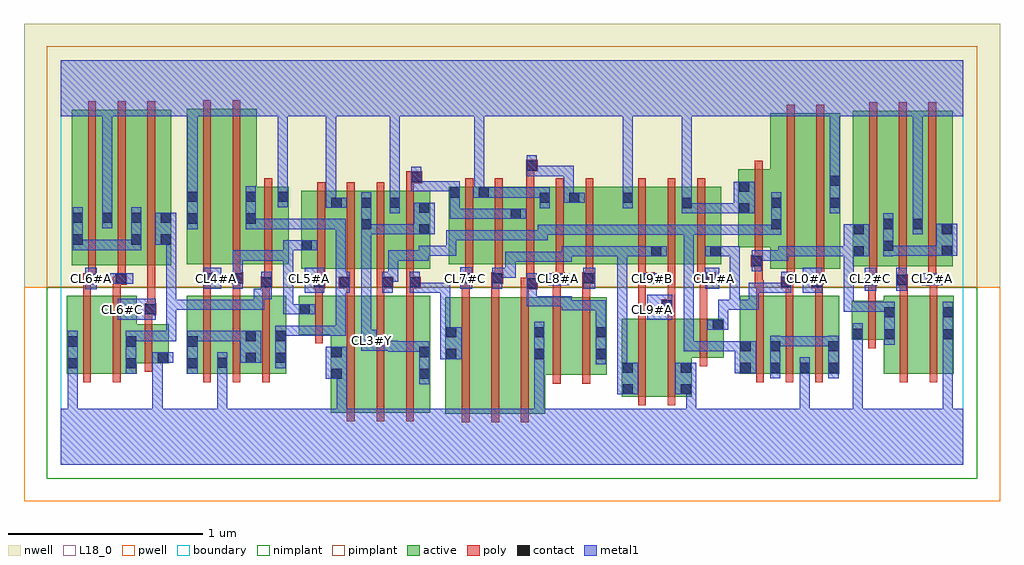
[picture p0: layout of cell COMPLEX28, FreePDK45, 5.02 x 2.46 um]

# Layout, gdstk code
import gdstk
lib = gdstk.Library(unit=1e-6, precision=1e-09)
def R(c, l, rs):  # rectangles x0, y0, x1, y1
    for r in rs: c.add(gdstk.rectangle(r[:2], r[2:], *l))
def A(c, l, x, y, w, h, nx, ny, dx, dy):  # array of equal rectangles
    R(c, l, [(x+i*dx, y+j*dy, x+i*dx+w, y+j*dy+h) for i in range(nx) for j in range(ny)])
active = (1, 0)
pwell = (2, 0)
nwell = (3, 0)
nimplant = (4, 0)
pimplant = (5, 0)
poly = (9, 0)
contact = (10, 0)
metal1 = (11, 0)
L18_0 = (18, 0)
boundary = (235, 0)

complex28 = lib.new_cell('COMPLEX28')
R(complex28, active, [(1.978,0.262,2.158,0.862), (2.158,0.262,2.31,0.862), (2.31,0.262,2.49,0.862), (1.388,0.268,1.568,0.868), (1.388,0.268,1.448,0.868), (1.568,0.268,1.72,0.868), (1.72,0.268,1.9,0.868), (1.84,0.268,1.9,0.868), (1.978,0.268,2.062,0.862), (2.43,0.268,2.49,0.742), (2.884,0.35,3.064,0.75), (3.064,0.35,3.244,0.75), (3.184,0.35,3.244,0.55), (2.884,0.356,2.944,0.75), (2.43,0.462,2.626,0.862), (2.626,0.462,2.806,0.862), (0.032,0.468,0.092,0.868), (0.032,0.468,0.212,0.868), (0.212,0.468,0.392,0.868), (0.332,0.468,0.392,0.722), (0.648,0.468,0.708,0.868), (0.648,0.468,0.86,0.868), (0.8,0.468,1.008,0.868), (0.8,0.468,0.86,0.854), (0.948,0.468,1.008,0.868), (0.948,0.468,1.16,0.868), (1.1,0.468,1.16,0.868), (2.746,0.468,2.806,0.862), (3.49,0.468,3.55,0.868), (3.49,0.468,3.702,0.868), (3.642,0.468,3.854,0.868), (3.642,0.468,3.702,0.64), (3.794,0.468,4.002,0.868), (3.794,0.468,3.854,0.528), (3.942,0.468,4.002,0.868), (4.23,0.468,4.41,0.868), (4.41,0.468,4.59,0.868), (4.53,0.468,4.59,0.868), (0.332,0.522,0.556,0.722), (0.496,0.522,0.556,0.722), (3.184,0.55,3.408,0.75), (3.348,0.55,3.408,0.75), (4.23,0.642,4.29,0.844), (4.066,0.644,4.29,0.844), (4.066,0.644,4.126,0.844), (1.224,0.668,1.448,0.868), (1.224,0.668,1.284,0.868), (1.236,1.008,1.448,1.408), (1.236,1.008,1.296,1.356), (1.388,1.008,1.448,1.408), (1.388,1.008,1.6,1.408), (1.54,1.008,1.6,1.408), (1.54,1.008,1.748,1.408), (1.688,1.008,1.9,1.408), (1.84,1.008,1.9,1.408), (3.648,1.008,3.828,1.808), (3.828,1.008,4.008,1.808), (3.948,1.008,4.008,1.756), (4.072,1.02,4.132,1.724), (4.072,1.02,4.284,1.82), (4.224,1.02,4.436,1.82), (4.376,1.02,4.584,1.82), (4.524,1.02,4.584,1.724), (0.058,1.026,0.27,1.826), (0.058,1.026,0.118,1.724), (0.21,1.026,0.418,1.826), (0.358,1.026,0.57,1.826), (0.358,1.026,0.418,1.724), (0.51,1.026,0.57,1.724), (1.688,1.026,1.748,1.408), (0.648,1.03,0.828,1.83), (0.648,1.03,0.708,1.83), (0.828,1.03,1.008,1.83), (0.948,1.03,1.172,1.43), (0.948,1.03,1.008,1.724), (1.996,1.03,2.056,1.43), (1.996,1.03,2.204,1.43), (2.144,1.03,2.37,1.43), (2.31,1.03,2.518,1.43), (2.458,1.03,2.67,1.43), (2.61,1.03,2.944,1.43), (2.884,1.03,3.092,1.43), (3.032,1.03,3.248,1.43), (3.188,1.03,3.396,1.43), (3.336,1.03,3.396,1.356), (3.032,1.068,3.092,1.356), (4.224,1.068,4.284,1.724), (4.376,1.068,4.436,1.82), (2.884,1.082,2.944,1.43), (3.484,1.118,3.708,1.518), (3.648,1.118,3.708,1.724), (1.112,1.164,1.172,1.43), (3.484,1.164,3.544,1.518), (2.144,1.196,2.204,1.43), (0.21,1.206,0.27,1.808), (2.31,1.26,2.37,1.356), (3.188,1.316,3.248,1.43), (2.458,1.342,2.518,1.43), (2.61,1.342,2.67,1.43)])
R(complex28, pwell, [(-0.188,-0.188,4.828,0.912)])
R(complex28, nwell, [(-0.188,0.912,4.828,2.268)])
R(complex28, nimplant, [(-0.072,-0.072,4.712,0.912)])
R(complex28, pimplant, [(-0.072,0.912,4.712,2.152)])
A(complex28, poly, 2.062, 0.218, 0.04, 0.688, 3, 1, 0.152, 0)
A(complex28, poly, 1.472, 0.224, 0.04, 0.688, 3, 1, 0.152, 0)
A(complex28, poly, 0.732, 0.424, 0.04, 0.488, 3, 1, 0.152, 0)
A(complex28, poly, 3.574, 0.424, 0.04, 0.488, 3, 1, 0.152, 0)
A(complex28, poly, 1.472, 0.872, 0.04, 0.076, 3, 1, 0.152, 0)
A(complex28, poly, 3.574, 0.872, 0.04, 0.076, 3, 1, 0.152, 0)
A(complex28, poly, 1.32, 0.928, 0.04, 0.076, 4, 1, 0.152, 0)
A(complex28, poly, 4.156, 0.94, 0.04, 0.076, 3, 1, 0.152, 0)
A(complex28, poly, 1.32, 0.964, 0.04, 0.488, 4, 1, 0.152, 0)
A(complex28, poly, 4.156, 0.976, 0.04, 0.888, 3, 1, 0.152, 0)
A(complex28, poly, 0.142, 0.982, 0.04, 0.888, 3, 1, 0.152, 0)
A(complex28, poly, 2.394, 0.986, 0.04, 0.488, 3, 1, 0.152, 0)
A(complex28, poly, 2.968, 0.986, 0.04, 0.488, 3, 1, 0.152, 0)
R(complex28, poly, [(2.968,0.306,3.008,0.794), (3.12,0.306,3.16,0.794), (2.53,0.418,2.57,0.906), (2.682,0.418,2.722,0.906), (0.116,0.424,0.156,0.912), (0.268,0.424,0.308,0.912), (4.314,0.424,4.354,0.912), (4.466,0.424,4.506,0.912), (0.432,0.478,0.472,0.766), (3.284,0.506,3.324,0.794), (4.15,0.6,4.19,0.888), (1.308,0.624,1.348,0.912), (0.432,0.726,0.472,0.81), (2.968,0.754,3.008,0.97), (3.12,0.754,3.16,0.83), (3.284,0.754,3.324,0.97), (0.432,0.77,0.492,0.83), (0.446,0.79,0.486,0.83), (0.446,0.79,0.486,0.83), (0.446,0.79,0.486,1.022), (3.088,0.79,3.16,0.85), (3.12,0.81,3.16,0.85), (3.12,0.81,3.16,0.85), (3.12,0.81,3.16,1.026), (4.15,0.848,4.19,0.96), (2.062,0.866,2.102,0.97), (2.214,0.866,2.254,0.97), (2.366,0.866,2.406,0.942), (2.53,0.866,2.57,0.97), (2.682,0.866,2.722,0.97), (0.116,0.872,0.156,0.966), (0.268,0.872,0.308,0.966), (0.732,0.872,0.772,0.97), (0.884,0.872,0.924,0.97), (1.036,0.872,1.076,0.948), (1.308,0.872,1.348,0.948), (4.314,0.872,4.354,0.96), (4.466,0.872,4.506,0.96), (2.366,0.902,2.452,0.962), (1.028,0.908,1.088,0.968), (1.3,0.908,1.36,0.968), (1.308,0.908,1.348,0.948), (1.308,0.908,1.348,0.948), (1.43,0.908,1.512,0.968), (1.472,0.908,1.512,0.948), (1.472,0.908,1.512,0.948), (1.624,0.908,1.664,0.948), (1.624,0.908,1.664,0.948), (1.624,0.908,1.71,0.968), (1.776,0.908,1.85,0.968), (3.568,0.908,3.614,0.948), (3.568,0.908,3.608,1.058), (3.7,0.908,3.766,0.968), (3.858,0.908,3.918,0.968), (4.136,0.92,4.196,0.98), (4.15,0.92,4.19,0.96), (4.15,0.92,4.19,0.96), (4.294,0.92,4.354,0.98), (4.314,0.92,4.354,0.96), (4.314,0.92,4.354,0.96), (4.45,0.92,4.51,0.98), (4.466,0.92,4.506,0.96), (4.466,0.92,4.506,0.96), (2.394,0.922,2.434,0.962), (2.394,0.922,2.434,0.962), (2.394,0.922,2.434,1.026), (0.116,0.926,0.182,0.986), (0.268,0.926,0.32,0.966), (0.28,0.926,0.32,0.966), (0.28,0.926,0.34,0.986), (1.048,0.928,1.088,0.968), (1.048,0.928,1.088,0.968), (1.048,0.928,1.088,1.026), (1.776,0.928,1.816,0.968), (1.776,0.928,1.816,0.968), (3.726,0.928,3.766,0.968), (3.726,0.928,3.772,0.968), (3.732,0.928,3.772,1.004), (3.878,0.928,3.918,0.968), (3.878,0.928,3.924,0.968), (3.884,0.928,3.924,1.004), (0.732,0.93,0.772,0.97), (0.732,0.93,0.772,0.97), (0.732,0.93,0.792,0.99), (0.88,0.93,0.94,0.99), (0.884,0.93,0.924,0.97), (0.884,0.93,0.924,0.97), (2.06,0.93,2.12,0.99), (2.214,0.93,2.254,0.97), (2.214,0.93,2.254,0.97), (2.214,0.93,2.274,0.99), (2.53,0.93,2.57,0.97), (2.53,0.93,2.57,0.97), (2.53,0.93,2.59,0.99), (2.682,0.93,2.722,0.97), (2.682,0.93,2.722,0.97), (2.682,0.93,2.742,0.99), (2.968,0.93,3.008,0.97), (2.968,0.93,3.008,0.97), (2.968,0.93,3.054,0.99), (3.272,0.93,3.368,0.99), (3.284,0.93,3.324,0.97), (3.284,0.93,3.324,0.97), (0.142,0.946,0.182,1.022), (0.142,0.946,0.182,0.986), (0.142,0.946,0.182,0.986), (0.294,0.946,0.334,1.022), (0.732,0.95,0.772,1.026), (0.884,0.95,0.924,1.026), (2.08,0.95,2.12,1.026), (2.08,0.95,2.12,0.99), (2.08,0.95,2.12,0.99), (2.232,0.95,2.272,1.026), (2.546,0.95,2.586,1.026), (2.698,0.95,2.738,1.026), (2.968,0.95,3.008,1.026), (3.272,0.95,3.312,1.026), (3.732,0.964,3.772,1.852), (3.884,0.964,3.924,1.852), (0.732,0.986,0.772,1.874), (0.884,0.986,0.924,1.874), (1.048,0.986,1.088,1.474), (2.08,0.986,2.12,1.474), (2.232,0.986,2.272,1.474), (3.548,1.018,3.608,1.078), (3.568,1.038,3.608,1.114), (3.568,1.074,3.608,1.562), (1.776,1.412,1.816,1.488), (2.394,1.434,2.434,1.548), (1.776,1.448,1.858,1.508), (2.392,1.508,2.452,1.568)])
A(complex28, contact, 3.494, 0.472, 0.052, 0.052, 3, 1, 0.152, 0)
R(complex28, contact, [(2.888,0.362,2.94,0.414), (3.188,0.362,3.24,0.414), (1.392,0.442,1.444,0.494), (1.844,0.442,1.896,0.494), (3.946,0.472,3.998,0.524), (2.888,0.474,2.94,0.526), (3.188,0.474,3.24,0.526), (0.036,0.496,0.088,0.548), (0.336,0.496,0.388,0.548), (0.652,0.496,0.704,0.548), (0.804,0.498,0.856,0.55), (0.952,0.524,1.004,0.576), (1.104,0.524,1.156,0.576), (0.5,0.526,0.552,0.578), (1.982,0.544,2.034,0.596), (2.434,0.544,2.486,0.596), (2.75,0.544,2.802,0.596), (1.392,0.554,1.444,0.606), (1.844,0.554,1.896,0.606), (3.494,0.584,3.546,0.636), (3.646,0.584,3.698,0.636), (3.946,0.584,3.998,0.636), (0.036,0.608,0.088,0.66), (0.336,0.608,0.388,0.66), (0.652,0.608,0.704,0.66), (0.952,0.636,1.004,0.688), (1.104,0.636,1.156,0.688), (4.234,0.646,4.286,0.698), (4.534,0.646,4.586,0.698), (4.07,0.648,4.122,0.7), (1.982,0.656,2.034,0.708), (2.434,0.656,2.486,0.708), (2.75,0.656,2.802,0.708), (3.352,0.694,3.404,0.746), (4.234,0.758,4.286,0.81), (4.534,0.758,4.586,0.81), (0.436,0.774,0.488,0.826), (1.228,0.774,1.28,0.826), (3.092,0.794,3.144,0.846), (2.396,0.906,2.448,0.958), (1.032,0.912,1.084,0.964), (1.304,0.912,1.356,0.964), (1.434,0.912,1.486,0.964), (1.654,0.912,1.706,0.964), (1.794,0.912,1.846,0.964), (3.704,0.912,3.756,0.964), (3.862,0.912,3.914,0.964), (4.14,0.924,4.192,0.976), (4.298,0.924,4.35,0.976), (4.454,0.924,4.506,0.976), (0.126,0.93,0.178,0.982), (0.284,0.93,0.336,0.982), (0.736,0.934,0.788,0.986), (0.884,0.934,0.936,0.986), (2.064,0.934,2.116,0.986), (2.218,0.934,2.27,0.986), (2.534,0.934,2.586,0.986), (2.686,0.934,2.738,0.986), (2.998,0.934,3.05,0.986), (3.312,0.934,3.364,0.986), (3.552,1.022,3.604,1.074), (3.036,1.072,3.088,1.124), (3.34,1.072,3.392,1.124), (4.076,1.072,4.128,1.124), (4.528,1.074,4.58,1.126), (4.228,1.1,4.28,1.152), (1.24,1.102,1.292,1.154), (0.062,1.132,0.114,1.184), (0.362,1.132,0.414,1.184), (0.514,1.132,0.566,1.184), (1.844,1.184,1.896,1.236), (4.076,1.184,4.128,1.236), (4.528,1.186,4.58,1.238), (1.544,1.21,1.596,1.262), (3.652,1.21,3.704,1.262), (4.228,1.212,4.28,1.264), (4.38,1.212,4.432,1.264), (0.652,1.24,0.704,1.292), (0.952,1.24,1.004,1.292), (0.062,1.244,0.114,1.296), (0.214,1.244,0.266,1.296), (0.362,1.244,0.414,1.296), (0.514,1.244,0.566,1.296), (2.314,1.264,2.366,1.316), (3.488,1.292,3.54,1.344), (1.844,1.296,1.896,1.348), (3.192,1.32,3.244,1.372), (1.392,1.322,1.444,1.374), (1.544,1.322,1.596,1.374), (1.692,1.322,1.744,1.374), (3.652,1.322,3.704,1.374), (3.952,1.322,4.004,1.374), (2.462,1.346,2.514,1.398), (2.614,1.346,2.666,1.398), (2.888,1.346,2.94,1.398), (0.652,1.352,0.704,1.404), (0.952,1.352,1.004,1.404), (1.116,1.352,1.168,1.404), (2,1.374,2.052,1.426), (2.148,1.374,2.2,1.426), (3.488,1.404,3.54,1.456), (3.952,1.434,4.004,1.486), (1.802,1.452,1.854,1.504), (2.396,1.512,2.448,1.564)])
A(complex28, metal1, 2.176, 1.154, 0.162, 0.052, 1, 3, 0, 0.11)
R(complex28, metal1, [(0,0,4.64,0.288), (0.036,0.236,0.088,0.52), (0.472,0.236,0.524,0.288), (0.472,0.236,0.524,0.288), (0.472,0.236,0.524,0.578), (0.804,0.236,0.856,0.288), (0.804,0.236,0.856,0.288), (0.804,0.236,0.856,0.522), (1.42,0.236,1.472,0.494), (2.434,0.236,2.486,0.568), (3.216,0.236,3.268,0.288), (3.216,0.236,3.268,0.288), (3.216,0.236,3.268,0.414), (3.798,0.236,3.85,0.288), (3.798,0.236,3.85,0.288), (3.798,0.236,3.85,0.496), (4.07,0.236,4.122,0.288), (4.07,0.236,4.122,0.288), (4.07,0.236,4.122,0.288), (4.07,0.236,4.122,0.288), (4.07,0.236,4.122,0.672), (4.534,0.236,4.586,0.67), (2.86,0.362,2.968,0.526), (3.16,0.362,3.268,0.526), (1.844,0.414,1.896,0.634), (1.364,0.442,1.472,0.606), (3.646,0.444,3.698,0.664), (3.798,0.444,3.85,0.552), (3.946,0.444,3.998,0.664), (0.036,0.468,0.088,0.52), (0.036,0.468,0.088,0.52), (0.036,0.468,0.088,0.688), (0.336,0.468,0.388,0.688), (0.652,0.468,0.704,0.688), (0.804,0.47,0.856,0.578), (3.466,0.472,3.574,0.636), (2.86,0.474,2.912,1.124), (1.104,0.496,1.156,0.716), (2.434,0.516,2.486,0.736), (2.75,0.516,2.802,0.736), (0.924,0.524,1.032,0.688), (0.472,0.526,0.524,0.578), (0.472,0.526,0.524,0.578), (0.472,0.526,0.524,0.578), (0.472,0.526,0.524,0.578), (0.472,0.526,0.58,0.578), (1.95,0.544,2.062,0.708), (1.684,0.582,1.736,0.634), (1.684,0.582,1.892,0.634), (1.684,0.582,1.736,0.638), (1.84,0.582,1.892,0.634), (1.84,0.582,1.896,0.634), (3.202,0.584,3.254,0.636), (3.202,0.584,3.254,0.636), (3.202,0.584,3.254,0.636), (3.202,0.584,3.254,0.636), (3.202,0.584,3.254,0.636), (3.202,0.584,3.254,0.636), (3.202,0.584,3.254,0.636), (3.202,0.584,3.254,0.636), (3.202,0.584,3.254,0.636), (3.202,0.584,3.402,0.636), (3.202,0.584,3.254,1.234), (3.35,0.584,3.402,0.636), (3.35,0.584,3.402,0.636), (3.35,0.584,3.402,0.636), (3.35,0.584,3.518,0.636), (1.544,0.586,1.626,0.694), (1.574,0.586,1.736,0.638), (1.684,0.586,1.736,0.638), (1.684,0.586,1.736,0.638), (1.684,0.586,1.736,0.638), (3.646,0.61,3.714,0.662), (3.662,0.61,3.714,0.662), (3.662,0.61,3.85,0.662), (3.798,0.61,3.85,0.662), (3.798,0.61,3.85,0.662), (3.798,0.61,3.85,0.662), (3.798,0.61,3.998,0.662), (4.234,0.618,4.286,0.838), (4.534,0.618,4.586,0.67), (4.534,0.618,4.586,0.67), (4.534,0.618,4.586,0.838), (4.07,0.62,4.122,0.672), (4.07,0.62,4.122,0.672), (4.07,0.62,4.122,0.728), (0.336,0.636,0.388,0.688), (0.336,0.636,0.388,0.688), (0.336,0.636,0.594,0.688), (0.542,0.636,0.594,0.688), (0.542,0.636,0.594,0.848), (0.652,0.636,0.704,0.688), (0.652,0.636,0.704,0.688), (0.652,0.636,0.826,0.688), (0.774,0.636,0.826,0.688), (0.774,0.636,0.826,0.688), (0.774,0.636,0.826,0.688), (0.774,0.636,0.976,0.688), (1.544,0.642,1.596,1.234), (1.95,0.656,2.002,0.936), (1.104,0.664,1.306,0.716), (1.254,0.664,1.306,0.716), (1.254,0.664,1.306,0.716), (1.254,0.664,1.306,0.716), (1.254,0.664,1.466,0.716), (1.414,0.664,1.466,0.716), (1.414,0.664,1.466,0.716), (1.414,0.664,1.466,0.716), (1.414,0.664,1.466,0.936), (2.75,0.684,2.802,0.846), (3.324,0.694,3.432,0.746), (3.38,0.694,3.432,0.848), (0.294,0.746,0.488,0.854), (3.014,0.746,3.144,0.874), (1.144,0.774,1.196,1.102), (1.144,0.774,1.252,0.826), (1.2,0.774,1.252,0.826), (1.2,0.774,1.308,0.826), (4.024,0.786,4.076,0.838), (4.024,0.786,4.186,0.838), (4.024,0.786,4.076,1.124), (4.134,0.786,4.186,0.838), (4.134,0.786,4.286,0.838), (4.234,0.786,4.286,0.838), (4.234,0.786,4.286,0.838), (2.576,0.794,2.802,0.846), (2.576,0.794,2.628,0.866), (2.75,0.794,2.802,0.846), (2.75,0.794,2.802,0.846), (2.75,0.794,2.802,0.846), (0.542,0.796,0.594,0.848), (0.542,0.796,0.716,0.848), (0.542,0.796,0.594,1.184), (0.664,0.796,0.716,0.848), (0.664,0.796,0.716,0.848), (0.664,0.796,0.716,0.848), (0.664,0.796,0.826,0.848), (0.774,0.796,0.826,0.848), (0.774,0.796,0.826,0.848), (0.774,0.796,0.826,0.848), (0.774,0.796,1.046,0.848), (0.994,0.796,1.046,0.904), (3.38,0.796,3.49,0.848), (3.438,0.796,3.588,0.848), (3.438,0.796,3.49,1.124), (3.536,0.796,3.588,0.936), (2.396,0.814,2.628,0.866), (2.396,0.814,2.448,0.93), (2.576,0.814,2.628,0.866), (2.576,0.814,2.628,0.866), (0.994,0.852,1.084,0.904), (1.032,0.852,1.084,0.992), (2.396,0.878,2.448,0.93), (2.396,0.878,2.448,0.986), (1.254,0.884,1.356,1.014), (1.414,0.884,1.466,0.936), (1.414,0.884,1.466,0.936), (1.414,0.884,1.466,0.936), (1.414,0.884,1.466,0.936), (1.414,0.884,1.466,0.936), (1.414,0.884,1.486,0.936), (1.414,0.884,1.466,1.264), (1.434,0.884,1.486,0.992), (1.654,0.884,1.706,0.992), (1.794,0.884,1.846,0.992), (1.794,0.884,1.854,0.936), (1.802,0.884,1.854,0.936), (1.802,0.884,2.002,0.936), (1.95,0.884,2.002,0.936), (3.536,0.884,3.604,0.936), (3.552,0.884,3.604,0.936), (3.552,0.884,3.704,0.936), (3.652,0.884,3.704,0.936), (3.652,0.884,3.756,0.936), (3.704,0.884,3.756,0.992), (3.814,0.884,3.914,1.014), (4.134,0.896,4.192,1.014), (4.294,0.896,4.35,1.014), (0.126,0.902,0.186,1.014), (2.686,0.904,2.748,1.014), (0.736,0.906,0.826,1.014), (0.884,0.906,0.936,1.014), (2.054,0.906,2.116,1.016), (2.218,0.906,2.27,1.014), (3.312,0.906,3.386,1.014), (2.506,0.924,2.614,0.986), (4.426,0.924,4.534,0.986), (0.256,0.93,0.374,0.986), (2.97,0.934,3.094,0.986), (1.654,0.94,1.736,0.992), (1.684,0.94,1.736,1.102), (0.884,0.962,0.936,1.014), (0.884,0.962,0.936,1.102), (2.218,0.962,2.338,1.014), (2.286,0.962,2.338,1.096), (3.552,0.994,3.604,1.102), (2.286,1.044,2.442,1.096), (2.39,1.044,2.442,1.096), (2.39,1.044,2.448,1.096), (2.396,1.044,2.448,1.096), (2.396,1.044,2.448,1.096), (2.396,1.044,2.448,1.096), (2.396,1.044,2.628,1.096), (2.576,1.044,2.628,1.124), (0.884,1.05,1.046,1.102), (0.994,1.05,1.046,1.102), (0.994,1.05,1.196,1.102), (1.144,1.05,1.196,1.102), (1.144,1.05,1.196,1.102), (1.144,1.05,1.196,1.102), (1.144,1.05,1.196,1.154), (1.684,1.05,1.892,1.102), (1.84,1.05,1.892,1.102), (1.84,1.05,1.892,1.102), (1.84,1.05,1.892,1.126), (3.552,1.05,3.74,1.102), (3.688,1.05,3.74,1.124), (2.576,1.072,2.628,1.124), (2.576,1.072,2.628,1.124), (2.576,1.072,2.738,1.124), (2.686,1.072,2.738,1.124), (2.686,1.072,2.738,1.124), (2.686,1.072,2.738,1.124), (2.686,1.072,2.912,1.124), (2.86,1.072,2.912,1.124), (2.86,1.072,2.912,1.124), (2.86,1.072,2.912,1.124), (2.86,1.072,2.912,1.124), (2.86,1.072,2.912,1.124), (2.86,1.072,2.912,1.124), (2.86,1.072,2.912,1.124), (2.86,1.072,3.06,1.124), (3.008,1.072,3.116,1.124), (3.312,1.072,3.49,1.124), (3.438,1.072,3.49,1.124), (3.438,1.072,3.49,1.124), (3.688,1.072,3.74,1.124), (3.688,1.072,3.74,1.124), (3.688,1.072,3.85,1.124), (3.798,1.072,3.85,1.124), (3.798,1.072,3.85,1.124), (3.798,1.072,3.85,1.124), (3.798,1.072,4.076,1.124), (4.024,1.072,4.076,1.124), (4.024,1.072,4.076,1.124), (4.024,1.072,4.076,1.124), (4.024,1.072,4.076,1.124), (4.024,1.072,4.156,1.236), (4.228,1.072,4.28,1.292), (1.84,1.074,2.034,1.126), (1.982,1.074,2.034,1.126), (1.982,1.074,2.034,1.206), (4.228,1.074,4.368,1.126), (4.316,1.074,4.368,1.126), (4.316,1.074,4.39,1.126), (4.338,1.074,4.39,1.126), (4.338,1.074,4.552,1.126), (4.5,1.074,4.552,1.126), (4.5,1.074,4.552,1.126), (4.5,1.074,4.608,1.238), (1.144,1.102,1.32,1.154), (0.062,1.104,0.114,1.156), (0.062,1.104,0.114,1.156), (0.062,1.104,0.114,1.324), (0.062,1.104,0.236,1.156), (0.184,1.104,0.236,1.156), (0.184,1.104,0.236,1.156), (0.184,1.104,0.236,1.156), (0.184,1.104,0.414,1.156), (0.362,1.104,0.414,1.324), (0.486,1.132,0.594,1.296), (0.542,1.132,0.594,1.184), (0.542,1.132,0.594,1.184), (1.982,1.154,2.034,1.206), (1.982,1.154,2.034,1.206), (1.982,1.154,2.034,1.206), (1.982,1.154,2.228,1.206), (2.176,1.154,2.228,1.206), (2.176,1.154,2.228,1.206), (2.176,1.154,2.228,1.206), (2.286,1.154,2.338,1.206), (2.286,1.154,2.338,1.206), (2.286,1.154,2.338,1.206), (2.286,1.154,2.38,1.206), (2.328,1.154,2.38,1.206), (2.328,1.154,2.504,1.206), (2.452,1.154,2.504,1.234), (1.544,1.182,1.596,1.234), (1.544,1.182,1.596,1.234), (1.544,1.182,1.596,1.402), (2.452,1.182,2.628,1.234), (2.576,1.182,2.628,1.234), (2.576,1.182,2.628,1.234), (2.576,1.182,2.628,1.234), (2.576,1.182,2.738,1.234), (2.686,1.182,2.738,1.234), (2.686,1.182,2.738,1.234), (2.686,1.182,2.738,1.234), (2.686,1.182,2.912,1.234), (2.86,1.182,2.912,1.234), (2.86,1.182,2.912,1.234), (2.86,1.182,2.912,1.234), (2.86,1.182,3.102,1.234), (3.05,1.182,3.102,1.234), (3.05,1.182,3.102,1.234), (3.05,1.182,3.102,1.234), (3.05,1.182,3.254,1.234), (3.202,1.182,3.254,1.234), (3.202,1.182,3.402,1.234), (3.35,1.182,3.402,1.234), (3.35,1.182,3.402,1.234), (3.35,1.182,3.402,1.234), (3.35,1.182,3.594,1.234), (3.542,1.182,3.594,1.234), (3.542,1.182,3.594,1.234), (3.542,1.182,3.594,1.234), (3.542,1.182,3.604,1.234), (3.552,1.182,3.604,1.234), (3.552,1.182,3.704,1.234), (3.652,1.182,3.704,1.402), (1.544,1.184,1.736,1.236), (1.684,1.184,1.736,1.236), (1.684,1.184,1.736,1.236), (1.684,1.184,1.736,1.236), (1.684,1.184,1.868,1.236), (1.816,1.184,1.868,1.236), (1.816,1.184,1.868,1.236), (1.816,1.184,1.924,1.348), (4.38,1.184,4.432,1.292), (0.652,1.212,0.704,1.432), (0.952,1.212,1.004,1.432), (0.952,1.212,1.046,1.264), (0.994,1.212,1.046,1.264), (0.994,1.212,1.156,1.264), (1.104,1.212,1.156,1.264), (1.104,1.212,1.306,1.264), (1.254,1.212,1.306,1.264), (1.254,1.212,1.306,1.264), (1.254,1.212,1.306,1.264), (1.254,1.212,1.466,1.264), (1.414,1.212,1.466,1.264), (0.214,1.216,0.266,1.324), (4.38,1.24,4.432,1.844), (2,1.264,2.052,1.316), (2,1.264,2.052,1.316), (2,1.264,2.052,1.316), (2,1.264,2.052,1.398), (2,1.264,2.228,1.316), (2.176,1.264,2.228,1.316), (2.176,1.264,2.228,1.316), (2.176,1.264,2.228,1.316), (2.286,1.264,2.394,1.316), (0.214,1.272,0.266,1.844), (3.192,1.292,3.244,1.4), (3.192,1.292,3.402,1.344), (3.35,1.292,3.402,1.344), (3.35,1.292,3.402,1.344), (3.35,1.292,3.402,1.344), (3.35,1.292,3.512,1.344), (3.46,1.292,3.568,1.456), (1.692,1.294,1.744,1.402), (3.952,1.294,4.004,1.514), (2.462,1.318,2.514,1.426), (2.888,1.318,2.94,1.426), (1.364,1.322,1.416,1.374), (1.364,1.322,1.416,1.374), (1.364,1.322,1.472,1.374), (1.364,1.322,1.416,1.844), (1.116,1.324,1.168,1.432), (2,1.346,2.052,1.458), (2.586,1.346,2.694,1.398), (2.586,1.346,2.638,1.536), (3.192,1.348,3.244,1.4), (3.192,1.348,3.244,1.4), (3.192,1.348,3.244,1.844), (1.692,1.35,1.744,1.402), (1.692,1.35,1.744,1.402), (1.692,1.35,1.744,1.844), (2.12,1.374,2.228,1.426), (2.126,1.374,2.178,1.426), (2.126,1.374,2.178,1.426), (2.126,1.374,2.178,1.426), (2.126,1.374,2.178,1.426), (2.126,1.374,2.178,1.426), (2.126,1.374,2.178,1.426), (2.126,1.374,2.178,1.844), (2.176,1.374,2.228,1.426), (2.176,1.374,2.228,1.426), (2.286,1.374,2.338,1.426), (2.286,1.374,2.38,1.426), (2.328,1.374,2.38,1.426), (2.328,1.374,2.514,1.426), (2.888,1.374,2.94,1.844), (0.652,1.38,0.704,1.844), (1.116,1.38,1.168,1.432), (1.116,1.38,1.168,1.432), (1.116,1.38,1.168,1.432), (1.116,1.38,1.168,1.432), (1.116,1.38,1.168,1.844), (1.802,1.406,1.854,1.458), (1.802,1.406,2.052,1.458), (1.802,1.406,1.854,1.476), (1.802,1.424,1.854,1.476), (1.802,1.424,1.854,1.476), (1.802,1.424,1.854,1.532), (3.952,1.462,4.004,1.844), (2.396,1.484,2.448,1.536), (2.396,1.484,2.448,1.536), (2.396,1.484,2.448,1.592), (2.396,1.484,2.628,1.536), (2.576,1.484,2.628,1.536), (2.576,1.484,2.638,1.536), (2.586,1.484,2.638,1.536), (0,1.792,4.64,2.08), (1.116,1.792,1.168,1.844), (1.116,1.792,1.168,1.844), (1.116,1.792,1.168,1.844), (1.116,1.792,1.168,1.844), (1.364,1.792,1.416,1.844), (1.364,1.792,1.416,1.844), (1.364,1.792,1.416,1.844), (1.364,1.792,1.416,1.844), (1.364,1.792,1.416,1.844), (1.364,1.792,1.416,1.844), (1.692,1.792,1.744,1.844), (1.692,1.792,1.744,1.844), (1.692,1.792,1.744,1.844), (1.692,1.792,1.744,1.844), (1.692,1.792,1.744,1.844), (1.692,1.792,1.744,1.844), (2.126,1.792,2.178,1.844), (2.126,1.792,2.178,1.844), (2.888,1.792,2.94,1.844), (2.888,1.792,2.94,1.844), (2.888,1.792,2.94,1.844), (2.888,1.792,2.94,1.844), (2.888,1.792,2.94,1.844), (2.888,1.792,2.94,1.844), (2.888,1.792,2.94,1.844), (2.888,1.792,2.94,1.844), (3.192,1.792,3.244,1.844), (3.192,1.792,3.244,1.844), (3.192,1.792,3.244,1.844), (3.192,1.792,3.244,1.844), (3.192,1.792,3.244,1.844), (3.192,1.792,3.244,1.844)])
A(complex28, L18_0, 0.294, 0.934, 0.052, 0.052, 3, 1, 0.48, 0)
A(complex28, L18_0, 2.694, 0.934, 0.052, 0.052, 3, 1, 0.32, 0)
A(complex28, L18_0, 4.134, 0.934, 0.052, 0.052, 3, 1, 0.16, 0)
R(complex28, L18_0, [(0,0,4.64,0.288), (0.036,0.236,0.088,0.52), (0.472,0.236,0.524,0.288), (0.472,0.236,0.524,0.288), (0.472,0.236,0.524,0.578), (0.804,0.236,0.856,0.288), (0.804,0.236,0.856,0.288), (0.804,0.236,0.856,0.522), (1.42,0.236,1.472,0.494), (2.434,0.236,2.486,0.568), (3.216,0.236,3.268,0.288), (3.216,0.236,3.268,0.288), (3.216,0.236,3.268,0.414), (3.798,0.236,3.85,0.288), (3.798,0.236,3.85,0.288), (3.798,0.236,3.85,0.496), (4.07,0.236,4.122,0.288), (4.07,0.236,4.122,0.288), (4.07,0.236,4.122,0.288), (4.07,0.236,4.122,0.288), (4.07,0.236,4.122,0.672), (4.534,0.236,4.586,0.67), (3.16,0.362,3.268,0.526), (1.844,0.414,1.896,0.634), (1.364,0.442,1.472,0.606), (3.798,0.444,3.85,0.552), (0.036,0.468,0.088,0.52), (0.036,0.468,0.088,0.52), (0.036,0.468,0.088,0.688), (0.804,0.47,0.856,0.578), (2.434,0.516,2.486,0.736), (0.472,0.526,0.524,0.578), (0.472,0.526,0.524,0.578), (0.472,0.526,0.524,0.578), (0.472,0.526,0.524,0.578), (0.472,0.526,0.58,0.578), (1.684,0.582,1.736,0.634), (1.684,0.582,1.736,0.638), (1.684,0.582,1.892,0.634), (1.84,0.582,1.892,0.634), (1.84,0.582,1.896,0.634), (1.544,0.586,1.626,0.694), (1.574,0.586,1.736,0.638), (1.684,0.586,1.736,0.638), (1.684,0.586,1.736,0.638), (1.684,0.586,1.736,0.638), (1.574,0.614,1.626,0.666), (4.534,0.618,4.586,0.67), (4.534,0.618,4.586,0.67), (4.534,0.618,4.586,0.838), (4.07,0.62,4.122,0.672), (4.07,0.62,4.122,0.672), (4.07,0.62,4.122,0.728), (1.544,0.642,1.596,1.234), (0.294,0.746,0.488,0.854), (3.014,0.746,3.144,0.874), (0.294,0.774,0.346,0.826), (3.014,0.774,3.066,0.826), (1.254,0.884,1.356,1.014), (3.814,0.884,3.914,1.014), (4.134,0.896,4.192,1.014), (4.294,0.896,4.35,1.014), (0.126,0.902,0.186,1.014), (2.686,0.904,2.748,1.014), (0.736,0.906,0.826,1.014), (2.054,0.906,2.116,1.016), (3.312,0.906,3.386,1.014), (2.506,0.924,2.614,0.986), (4.426,0.924,4.534,0.986), (0.256,0.93,0.374,0.986), (0.134,0.934,0.186,0.986), (2.054,0.934,2.106,0.986), (2.534,0.934,2.586,0.986), (2.97,0.934,3.094,0.986), (3.814,0.934,3.866,0.986), (1.544,1.182,1.596,1.234), (1.544,1.182,1.596,1.234), (1.544,1.182,1.596,1.402), (1.544,1.184,1.736,1.236), (1.684,1.184,1.736,1.236), (1.684,1.184,1.736,1.236), (1.684,1.184,1.736,1.236), (1.684,1.184,1.868,1.236), (1.816,1.184,1.868,1.236), (1.816,1.184,1.868,1.236), (1.816,1.184,1.924,1.348), (4.38,1.184,4.432,1.292), (0.652,1.212,0.704,1.432), (0.214,1.216,0.266,1.324), (4.38,1.24,4.432,1.844), (0.214,1.272,0.266,1.844), (3.192,1.292,3.244,1.4), (3.192,1.292,3.402,1.344), (3.35,1.292,3.402,1.344), (3.35,1.292,3.402,1.344), (3.35,1.292,3.402,1.344), (3.35,1.292,3.512,1.344), (3.46,1.292,3.568,1.456), (1.692,1.294,1.744,1.402), (3.952,1.294,4.004,1.514), (2.462,1.318,2.514,1.426), (2.888,1.318,2.94,1.426), (1.364,1.322,1.416,1.374), (1.364,1.322,1.416,1.374), (1.364,1.322,1.472,1.374), (1.364,1.322,1.416,1.844), (1.116,1.324,1.168,1.432), (3.192,1.348,3.244,1.4), (3.192,1.348,3.244,1.4), (3.192,1.348,3.244,1.844), (1.692,1.35,1.744,1.402), (1.692,1.35,1.744,1.402), (1.692,1.35,1.744,1.844), (2.12,1.374,2.228,1.426), (2.126,1.374,2.178,1.426), (2.126,1.374,2.178,1.426), (2.126,1.374,2.178,1.426), (2.126,1.374,2.178,1.426), (2.126,1.374,2.178,1.426), (2.126,1.374,2.178,1.426), (2.126,1.374,2.178,1.844), (2.176,1.374,2.228,1.426), (2.176,1.374,2.228,1.426), (2.176,1.374,2.338,1.426), (2.286,1.374,2.338,1.426), (2.286,1.374,2.38,1.426), (2.328,1.374,2.38,1.426), (2.328,1.374,2.514,1.426), (2.888,1.374,2.94,1.844), (0.652,1.38,0.704,1.844), (1.116,1.38,1.168,1.432), (1.116,1.38,1.168,1.432), (1.116,1.38,1.168,1.432), (1.116,1.38,1.168,1.432), (1.116,1.38,1.168,1.844), (3.952,1.462,4.004,1.844), (0,1.792,4.64,2.08), (1.116,1.792,1.168,1.844), (1.116,1.792,1.168,1.844), (1.116,1.792,1.168,1.844), (1.116,1.792,1.168,1.844), (1.364,1.792,1.416,1.844), (1.364,1.792,1.416,1.844), (1.364,1.792,1.416,1.844), (1.364,1.792,1.416,1.844), (1.364,1.792,1.416,1.844), (1.364,1.792,1.416,1.844), (1.692,1.792,1.744,1.844), (1.692,1.792,1.744,1.844), (1.692,1.792,1.744,1.844), (1.692,1.792,1.744,1.844), (1.692,1.792,1.744,1.844), (1.692,1.792,1.744,1.844), (2.126,1.792,2.178,1.844), (2.126,1.792,2.178,1.844), (2.888,1.792,2.94,1.844), (2.888,1.792,2.94,1.844), (2.888,1.792,2.94,1.844), (2.888,1.792,2.94,1.844), (2.888,1.792,2.94,1.844), (2.888,1.792,2.94,1.844), (2.888,1.792,2.94,1.844), (2.888,1.792,2.94,1.844), (3.192,1.792,3.244,1.844), (3.192,1.792,3.244,1.844), (3.192,1.792,3.244,1.844), (3.192,1.792,3.244,1.844), (3.192,1.792,3.244,1.844), (3.192,1.792,3.244,1.844)])
R(complex28, boundary, [(0,0,4.64,2.08)])
complex28.add(gdstk.Label('CL0#A', (3.84,0.96), layer=11, texttype=0))
complex28.add(gdstk.Label('CL1#A', (3.36,0.96), layer=11, texttype=0))
complex28.add(gdstk.Label('CL2#A', (4.48,0.96), layer=11, texttype=0))
complex28.add(gdstk.Label('CL2#B', (4.32,0.96), layer=11, texttype=0))
complex28.add(gdstk.Label('CL2#C', (4.16,0.96), layer=11, texttype=0))
complex28.add(gdstk.Label('CL3#Y', (1.6,0.64), layer=11, texttype=0))
complex28.add(gdstk.Label('CL4#A', (0.8,0.96), layer=11, texttype=0))
complex28.add(gdstk.Label('CL5#A', (1.28,0.96), layer=11, texttype=0))
complex28.add(gdstk.Label('CL6#A', (0.16,0.96), layer=11, texttype=0))
complex28.add(gdstk.Label('CL6#B', (0.32,0.96), layer=11, texttype=0))
complex28.add(gdstk.Label('CL6#C', (0.32,0.8), layer=11, texttype=0))
complex28.add(gdstk.Label('CL7#C', (2.08,0.96), layer=11, texttype=0))
complex28.add(gdstk.Label('CL8#A', (2.56,0.96), layer=11, texttype=0))
complex28.add(gdstk.Label('CL8#B', (2.72,0.96), layer=11, texttype=0))
complex28.add(gdstk.Label('CL9#A', (3.04,0.8), layer=11, texttype=0))
complex28.add(gdstk.Label('CL9#B', (3.04,0.96), layer=11, texttype=0))

lib.write_gds('COMPLEX28.gds')
